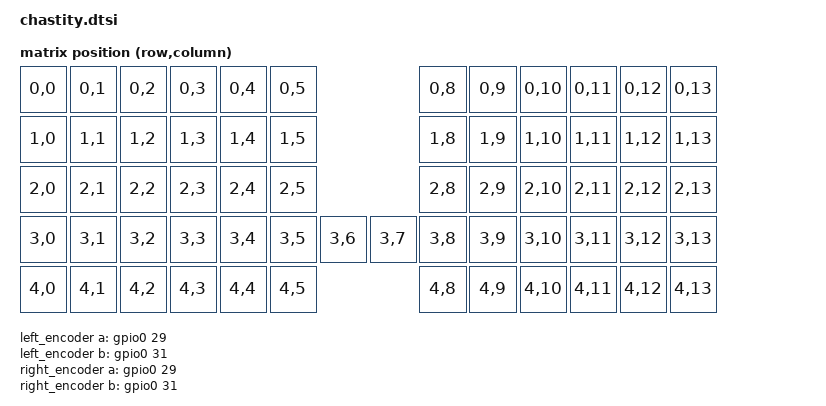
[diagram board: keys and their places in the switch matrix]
#include <dt-bindings/zmk/matrix_transform.h>

/ {
    chosen {
        zmk,kscan = &kscan0;
        zmk,matrix_transform = &default_transform;
    };

    default_transform: keymap_transform_0 {
        compatible = "zmk,matrix-transform";
        columns = <14>;
        rows = <5>;
// | TILDE | 1    | 2    | 3    | 4    | 5    |                   | 6    | 7    | 8    | 9    | 0    | MINUS |
// | LBKT  | Q    | W    | E    | R    | T    |                   | Y    | U    | I    | O    | P    | RBKT  |
// | TAB   | A    | S    | D    | F    | G    |                   | H    | J    | K    | L    | SEMI | SQT   |
// | LSHFT | Z    | X    | C    | V    | B    | BSPC |     | RET  | N    | M    | ,    | .    | ?    | RSHFT |
// | LCTRL | LGUI | MO2  | LALT | BSPC | SPACE|                   | DEL  | PLUS | MO1  | ESC  | RCTL | RALT  |
        map = <
RC(0,0) RC(0,1) RC(0,2) RC(0,3) RC(0,4) RC(0,5)                   RC(0,8) RC(0,9) RC(0,10) RC(0,11) RC(0,12) RC(0,13)
RC(1,0) RC(1,1) RC(1,2) RC(1,3) RC(1,4) RC(1,5)                   RC(1,8) RC(1,9) RC(1,10) RC(1,11) RC(1,12) RC(1,13)
RC(2,0) RC(2,1) RC(2,2) RC(2,3) RC(2,4) RC(2,5)                   RC(2,8) RC(2,9) RC(2,10) RC(2,11) RC(2,12) RC(2,13)
RC(3,0) RC(3,1) RC(3,2) RC(3,3) RC(3,4) RC(3,5) RC(3,6)   RC(3,7) RC(3,8) RC(3,9) RC(3,10) RC(3,11) RC(3,12) RC(3,13)
RC(4,0) RC(4,1) RC(4,2) RC(4,3) RC(4,4) RC(4,5)                   RC(4,8) RC(4,9) RC(4,10) RC(4,11) RC(4,12) RC(4,13)
        >;
    };

    kscan0: kscan {
        compatible = "zmk,kscan-gpio-matrix";
        label = "KSCAN";
        diode-direction = "col2row";
    };

    left_encoder: encoder_left {
        compatible = "alps,ec11";
        a-gpios = <&gpio0 29 (GPIO_ACTIVE_HIGH | GPIO_PULL_UP)>;
        b-gpios = <&gpio0 31 (GPIO_ACTIVE_HIGH | GPIO_PULL_UP)>;
        steps = <80>;
        status = "disabled";
    };

    right_encoder: encoder_right {
        compatible = "alps,ec11";
        a-gpios = <&gpio0 29 (GPIO_ACTIVE_HIGH | GPIO_PULL_UP)>;
        b-gpios = <&gpio0 31 (GPIO_ACTIVE_HIGH | GPIO_PULL_UP)>;
        steps = <80>;
        status = "disabled";
    };

    sensors: sensors {
        compatible = "zmk,keymap-sensors";
        sensors = <&left_encoder &right_encoder>;
        triggers-per-rotation = <20>;
    };
};

/* Free up matrix GPIOs that nice!nano v2's default pinctrl assigns to peripherals.
 * Right half cols 4/5 collide with i2c0/spi1; disabling those peripherals lets
 * kscan own the pins. uart0 stays disabled too — although the bootloader leaves
 * UARTE0.PSEL.TXD/RXD bound to P0.06/P0.08 so right-half col 2 (the U/J/M
 * column + inner thumbs) is not freed by status="disabled" alone. That's a
 * known limitation of this baseline. */
&uart0 { status = "disabled"; };
&i2c0  { status = "disabled"; };
&spi1  { status = "disabled"; };

/* Release P0.09 (NFC1) and P0.10 (NFC2) from the nRF52840's NFC peripheral so
 * they work as standard GPIOs in the matrix. Programs UICR on first boot.
 * Reverting requires `nrfjprog --eraseall` per MCU. */
&uicr {
    nfct-pins-as-gpios;
};
